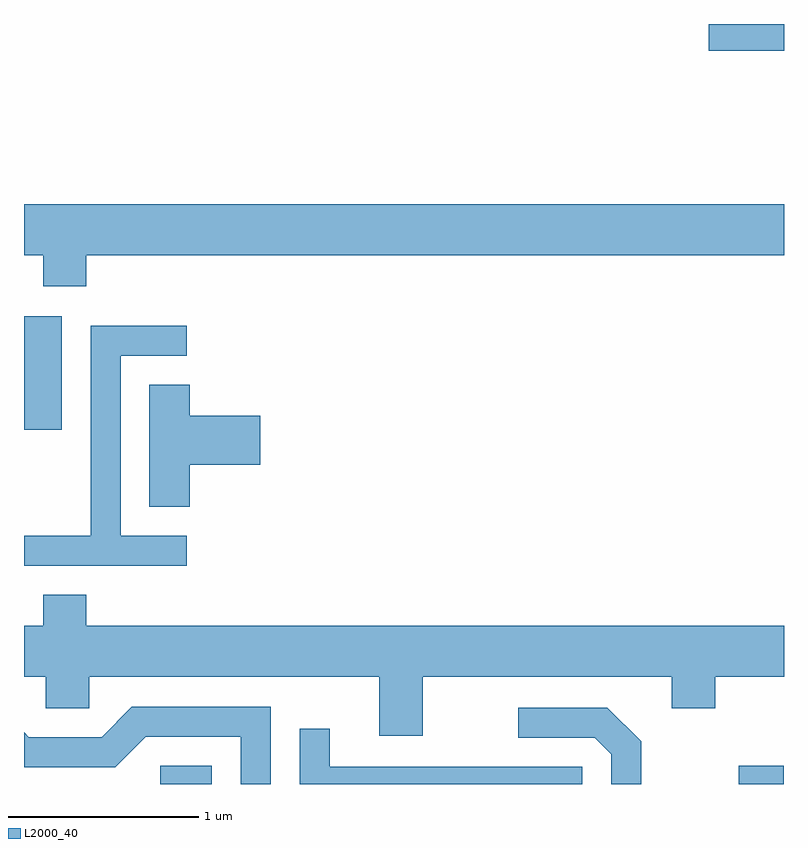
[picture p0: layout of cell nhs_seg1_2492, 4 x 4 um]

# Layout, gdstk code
import gdstk
lib = gdstk.Library(unit=1e-6, precision=1e-09)
def R(c, l, rs):  # rectangles x0, y0, x1, y1
    for r in rs: c.add(gdstk.rectangle(r[:2], r[2:], *l))
def P(c, l, *ps):  # polygons
    for p in ps: c.add(gdstk.Polygon(p, *l))
L2000_40 = (2000, 40)

nhs_seg1_2492 = lib.new_cell('nhs_seg1_2492')
R(nhs_seg1_2492, L2000_40, [(262.328,865.712,262.599,865.809), (265.373,865.712,265.609,865.809), (261.611,867.576,261.809,868.174), (265.216,869.571,265.611,869.712)])
P(nhs_seg1_2492, L2000_40, [(261.939,868.496),(265.611,868.496),(265.611,868.764),(261.611,868.764),(261.611,868.496),(261.711,868.496),(261.711,868.331),(261.939,868.331)],
  [(262.468,867.019),(262.119,867.019),(262.119,867.966),(262.468,867.966),(262.468,868.124),(261.961,868.124),(261.961,867.019),(261.611,867.019),(261.611,866.861),(262.468,866.861)],
  [(262.484,867.391),(262.854,867.391),(262.854,867.649),(262.484,867.649),(262.484,867.814),(262.271,867.814),(262.271,867.171),(262.484,867.171)],
  [(263.709,866.276),(265.021,866.276),(265.021,866.111),(265.249,866.111),(265.249,866.276),(265.611,866.276),(265.611,866.544),(261.939,866.544),(261.939,866.709),(261.711,866.709),(261.711,866.544),(261.611,866.544),(261.611,866.276),(261.726,866.276),(261.726,866.111),(261.954,866.111),(261.954,866.276),(263.481,866.276),(263.481,865.966),(263.709,865.966)],
  [(262.909,866.119),(262.179,866.119),(262.019,865.959),(261.637,865.959),(261.611,865.985),(261.611,865.801),(262.092,865.801),(262.252,865.961),(262.751,865.961),(262.751,865.712),(262.909,865.712)],
  [(264.859,865.937),(264.682,866.114),(264.213,866.114),(264.213,865.956),(264.614,865.956),(264.701,865.869),(264.701,865.712),(264.859,865.712)],
  [(264.549,865.804),(263.219,865.804),(263.219,866.003),(263.061,866.003),(263.061,865.712),(264.549,865.712)])

lib.write_gds('nhs_seg1_2492.gds')
